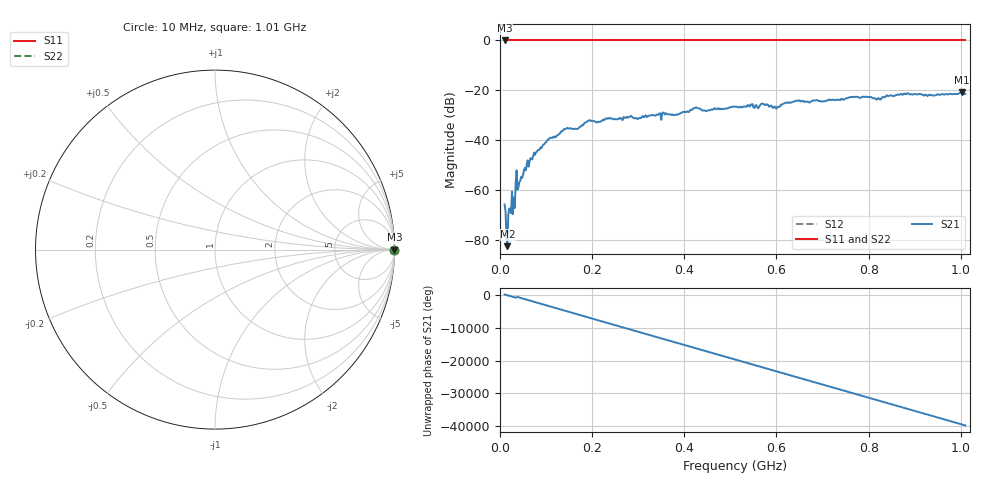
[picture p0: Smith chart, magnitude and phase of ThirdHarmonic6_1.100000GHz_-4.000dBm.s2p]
! 8/16/2025 10:19:56 AM
! C:\ANRITSUVNA\TEMP\TEMP.S2P
! CHANNEL.1
! TR.MEASUREMENT
! RAW.DATA
! RF.CORRECTION.OFF
! AVERAGING.OFF
! IF.BANDWIDTH: 5KHZ
! SWEEPTYPE:  FREQ.SWEEP(Linear)
! Reference Plane Port Info
! PORT:  PORT1  PORT2
! DISTANCE:  0  m  0  m
! TIME:  0  s  0  s
! PHASE.OFFSET:  0  deg.  0  deg.
! LOSS:  0  dB  0  dB
! REF.LOSS:  0  dB  0  dB
! REF.FREQ:  0  Hz  0  Hz
! Power Info
! POWER:  -20  dBm  -20  dBm
! EFF.POWER:  -20  dBm  -20  dBm
! SOURCE.ATTEN:  0  dB  0  dB
! TEST.ATTEN:  0  dB  0  dB
# GHZ S RI R 50.0
! FREQ.GHZ  S11RE  S11IM  S21RE  S21IM  S12RE  S12IM  S22RE  S22IM
!; PortSelection: Port_12
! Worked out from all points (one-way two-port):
!   501 points, 10 MHz to 1.01 GHz, reference 50 ohm
!   highest |S21| = -20.82 dB at 1.002 GHz (marker M1); lowest = -82.6 dB at 16 MHz (marker M2)
!   lowest |S11| = 0.0 dB at 10 MHz (marker M3)
!   |S11| at or under -10 dB: nowhere
!   |S22| runs from 0.0 to 0.0 dB; largest |S21 - S12| = 1.1
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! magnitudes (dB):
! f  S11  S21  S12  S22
! 10 MHz  0.0  -65.9  0.0  0.0
! 12 MHz  0.0  -68.6  0.0  0.0
! 16 MHz  0.0  -82.6  0.0  0.0
! 20 MHz  0.0  -67.5  0.0  0.0
! 22 MHz  0.0  -67.6  0.0  0.0
! 28 MHz  0.0  -69.7  0.0  0.0
! 38 MHz  0.0  -59.9  0.0  0.0
! 42 MHz  0.0  -56.8  0.0  0.0
! 56 MHz  0.0  -52.2  0.0  0.0
! 70 MHz  0.0  -47.8  0.0  0.0
! 106 MHz  0.0  -39.6  0.0  0.0
! 142 MHz  0.0  -35.6  0.0  0.0
! 178 MHz  0.0  -34.0  0.0  0.0
! 194 MHz  0.0  -32.0  0.0  0.0
! 344 MHz  0.0  -29.8  0.0  0.0
! 510 MHz  0.0  -26.6  0.0  0.0
! 572 MHz  0.0  -25.6  0.0  0.0
! 596 MHz  0.0  -26.5  0.0  0.0
! 678 MHz  0.0  -24.3  0.0  0.0
! 844 MHz  0.0  -22.3  0.0  0.0
! 1.002 GHz  0.0  -20.8  0.0  0.0
! 1.01 GHz  0.0  -21.4  0.0  0.0
